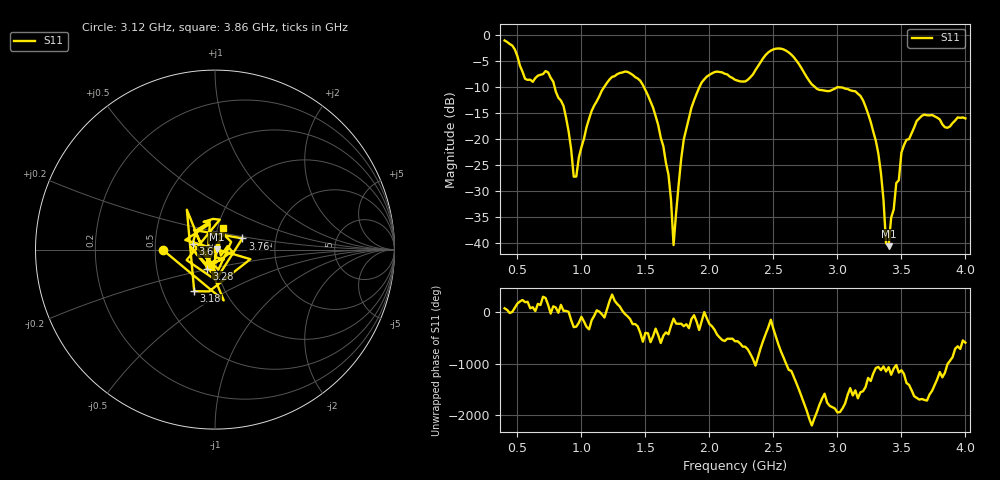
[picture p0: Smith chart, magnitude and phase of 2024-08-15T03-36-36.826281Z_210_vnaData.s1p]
!Created with skrf (http://scikit-rf.org).
# Hz S RI R 50.0
!freq ReS11 ImS11
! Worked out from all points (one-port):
!   181 points, 400 MHz to 4 GHz, reference 50 ohm
!   lowest |S11| = -40.6 dB at 3.4 GHz (marker M1), VSWR 1.02, Z = 50.9 + j0.184 ohm
!   |S11| at or under -10 dB: 790.6 MHz to 1.179 GHz (388.2 MHz wide, 39.4 % of centre); 1.488 GHz to 1.923 GHz (435.1 MHz wide, 25.5 % of centre); 2.824 GHz to end of sweep
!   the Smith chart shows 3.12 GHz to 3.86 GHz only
!   S11 on the Smith chart (normalised r, x): 3.12 GHz: 0.55, -0.00; 3.18 GHz: 0.72, -0.36; 3.28 GHz: 0.89, -0.19; 3.6 GHz: 0.78, +0.05; 3.76 GHz: 1.35, +0.17; 3.86 GHz: 1.06, +0.26
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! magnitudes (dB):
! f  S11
! 400 MHz  -1.1
! 560 MHz  -8.4
! 740 MHz  -7.2
! 860 MHz  -13.6
! 960 MHz  -27.2
! 1.08 GHz  -14.6
! 1.3 GHz  -7.3
! 1.56 GHz  -14.0
! 1.68 GHz  -26.8
! 1.72 GHz  -40.4
! 1.76 GHz  -28.7
! 1.8 GHz  -20.1
! 1.94 GHz  -9.1
! 2.2 GHz  -8.6
! 2.66 GHz  -4.3
! 2.84 GHz  -10.4
! 3.1 GHz  -10.6
! 3.12 GHz  -10.8
! 3.18 GHz  -11.7
! 3.28 GHz  -18.6
! 3.38 GHz  -40.0
! 3.4 GHz  -40.6
! 3.5 GHz  -22.6
! 3.56 GHz  -20.0
! 3.6 GHz  -17.8
! 3.76 GHz  -15.7
! 3.86 GHz  -17.8
! 4 GHz  -16.1
